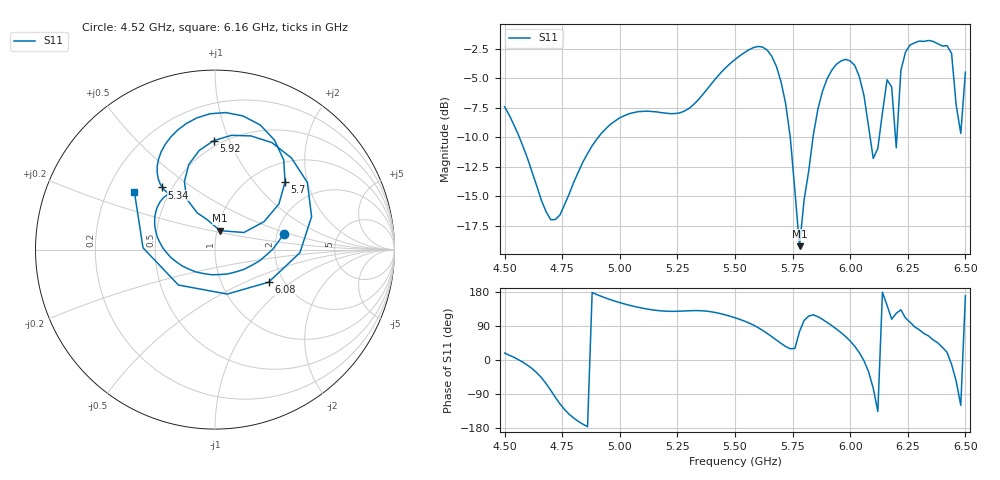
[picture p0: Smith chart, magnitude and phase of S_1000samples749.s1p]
! TOUCHSTONE file generated by CST MICROWAVE STUDIO
! Date and time: Sat Oct 29 06:20:39 2022
! Project name: L.cst
! Parameters = {Di=1.27; Epsilon_r=1.56; InnerDiameter=1.27; Length=2; Lf=10; Lg=60; OuterConductorThickness=0.2921; OuterDiameter=3.6; Wf=3; Wp=41.2; de=1.5; df=6.8; g=0.8; gx=2.76249; gy=0.683968; h=2.34; hf=1.524; px=14.4283; py=12.7362; w=9.7; wx=11.6658; wy=12.0522}
! Header version: 2018
! Port assignment regex: !\s*Touchstone port\s*([0-9]+)\s*=\s*(CST MWS port|CST DS port)\s*([0-9]+|Zmin|Zmax)\s*\(\"(.*)\"\)(\s*mode\s*([0-9]+))?.*
! Touchstone port assignment:
! Touchstone port 1 = CST MWS port 1 ("")
# GHz S DB R 50
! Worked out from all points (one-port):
!   101 points, 4.5 GHz to 6.5 GHz, reference 50 ohm
!   lowest |S11| = -19.2 dB at 5.78 GHz (marker M1), VSWR 1.25, Z = 51.7 + j11 ohm
!   |S11| at or under -10 dB: 4.564 GHz to 4.907 GHz (343.3 MHz wide, 7.25 % of centre); 5.74 GHz to 5.839 GHz (98.96 MHz wide, 1.71 % of centre); 6.086 GHz to 6.126 GHz (39.77 MHz wide, 0.651 % of centre)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
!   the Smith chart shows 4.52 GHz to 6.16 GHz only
!   S11 on the Smith chart (normalised r, x): 4.52 GHz: 2.18, +0.44; 5.34 GHz: 0.44, +0.39; 5.7 GHz: 1.38, +1.47; 5.92 GHz: 0.46, +0.88; 6.08 GHz: 1.67, -0.69; 6.16 GHz: 0.31, +0.29
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4.5  -7.43 18.3
4.52  -8.13 12.6
4.7  -16.99 -79.8
4.76  -15.72 -130.5
5  -8.36 151.4
5.26  -7.95 128.8
5.34  -6.85 130.4
5.5  -3.43 111.5
5.62  -2.37 78.2
5.7  -5.32 43.9
5.76  -14.54 30.5
5.78  -19.23 75.1
5.86  -7.61 114.2
5.92  -4.33 90.7
6  -3.55 50.1
6.04  -4.90 18.9
6.08  -9.13 -31.3
6.12  -10.94 -135.9
6.16  -5.14 144.3
6.18  -5.74 107.8
6.2  -10.90 123.2
6.22  -4.35 132.5
6.26  -2.19 99.7
6.38  -2.09 45.4
6.42  -2.25 20.6
6.44  -2.90 -11.4
6.48  -9.69 -119.5
6.5  -4.50 169.4
